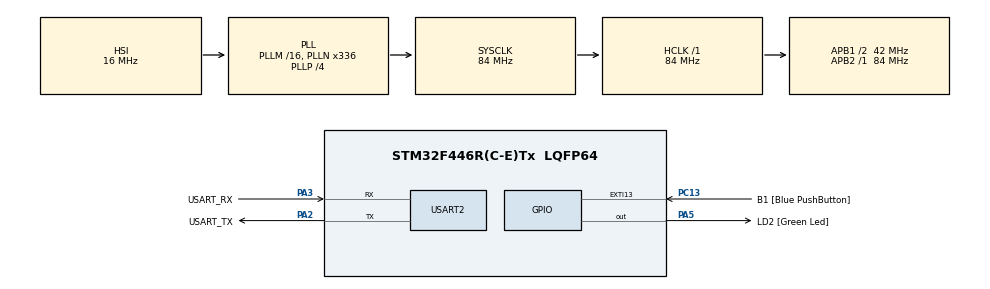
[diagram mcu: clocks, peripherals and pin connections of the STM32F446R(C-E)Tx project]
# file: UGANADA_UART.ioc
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Mcu.Family=STM32F4
Mcu.Name=STM32F446R(C-E)Tx
Mcu.Package=LQFP64
NVIC.PriorityGroup=NVIC_PRIORITYGROUP_0
NVIC.USART2_IRQn=true\:0\:0\:false\:false\:true\:true\:true\:true
PA13.GPIO_Label=TMS
PA13.Mode=Serial_Wire
PA13.Signal=SYS_JTMS-SWDIO
PA14.GPIO_Label=TCK
PA14.Mode=Serial_Wire
PA14.Signal=SYS_JTCK-SWCLK
PA2.GPIO_Label=USART_TX
PA2.Mode=Asynchronous
PA2.Signal=USART2_TX
PA3.GPIO_Label=USART_RX
PA3.Mode=Asynchronous
PA3.Signal=USART2_RX
PA5.GPIO_Label=LD2 [Green Led]
PA5.Signal=GPIO_Output
PB3.GPIO_Label=SWO
PB3.Signal=SYS_JTDO-SWO
PC13.GPIO_Label=B1 [Blue PushButton]
PC13.GPIO_ModeDefaultEXTI=GPIO_MODE_IT_FALLING
PC13.Signal=GPXTI13
PC14-OSC32_IN.Mode=LSE-External-Oscillator
PC14-OSC32_IN.Signal=RCC_OSC32_IN
PC15-OSC32_OUT.Mode=LSE-External-Oscillator
PC15-OSC32_OUT.Signal=RCC_OSC32_OUT
PH0-OSC_IN.Mode=HSE-External-Oscillator
PH0-OSC_IN.Signal=RCC_OSC_IN
PH1-OSC_OUT.Mode=HSE-External-Oscillator
PH1-OSC_OUT.Signal=RCC_OSC_OUT
ProjectManager.HeapSize=0x200
ProjectManager.StackSize=0x400
ProjectManager.TargetToolchain=STM32CubeIDE
RCC.48MHZClocksFreq_Value=84000000
RCC.AHBFreq_Value=84000000
RCC.APB1CLKDivider=RCC_HCLK_DIV2
RCC.APB1Freq_Value=42000000
RCC.APB1TimFreq_Value=84000000
RCC.APB2Freq_Value=84000000
RCC.APB2TimFreq_Value=84000000
RCC.CortexFreq_Value=84000000
RCC.FLatency-AdvancedSettings=FLASH_LATENCY_2
RCC.HCLKFreq_Value=84000000
RCC.HSE_VALUE=8000000
RCC.HSI_VALUE=16000000
RCC.PLLN=336
RCC.PLLP=RCC_PLLP_DIV4
RCC.SYSCLKFreq_VALUE=84000000
RCC.SYSCLKSource=RCC_SYSCLKSOURCE_PLLCLK
RCC.USBFreq_Value=168000000
RCC.VCOOutputFreq_Value=336000000
USART2.VirtualMode=VM_ASYNC
board=NUCLEO-F446RE

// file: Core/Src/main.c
/* USER CODE BEGIN Header */
/**
  ******************************************************************************
  * @file           : main.c
  * @brief          : Main program body
  ******************************************************************************
  * @attention
  *
  * Copyright (c) 2025 STMicroelectronics.
  * All rights reserved.
  *
  * This software is licensed under terms that can be found in the LICENSE file
  * in the root directory of this software component.
  * If no LICENSE file comes with this software, it is provided AS-IS.
  *
  ******************************************************************************
  */
/* USER CODE END Header */
#include "main.h"

/* USER CODE BEGIN PTD */
#include <string.h>
#include <stdio.h>
/* USER CODE END PTD */

UART_HandleTypeDef huart2;

/* USER CODE BEGIN PV */
char tx_data[] = "uganda tutorial\r\n";
char rx_data[1]; //CHNAGE BACK TO 6
char hold_rx[16];
char temp_buffer[100];
//uint32_t index;
//int count = 0;
/* USER CODE END PV */

void SystemClock_Config(void);
static void MX_GPIO_Init(void);
static void MX_USART2_UART_Init(void);

int main(void)
{

  /* MCU Configuration--------------------------------------------------------*/

  /* Reset of all peripherals, Initializes the Flash interface and the Systick. */
  HAL_Init();

  /* Configure the system clock */
  SystemClock_Config();

  /* Initialize all configured peripherals */
  MX_GPIO_Init();
  MX_USART2_UART_Init();
  /* USER CODE BEGIN 2 */
  HAL_UART_Transmit(&huart2, tx_data, sizeof(tx_data), HAL_MAX_DELAY);
  /* USER CODE END 2 */

  /* Infinite loop */
  while (1)
  {

    /* USER CODE BEGIN 3 */
	HAL_UART_Receive_IT(&huart2, rx_data, sizeof(rx_data));

  }
  /* USER CODE END 3 */
}

void SystemClock_Config(void)
{
  RCC_OscInitTypeDef RCC_OscInitStruct = {0};
  RCC_ClkInitTypeDef RCC_ClkInitStruct = {0};

  /** Configure the main internal regulator output voltage
  */
  __HAL_RCC_PWR_CLK_ENABLE();
  __HAL_PWR_VOLTAGESCALING_CONFIG(PWR_REGULATOR_VOLTAGE_SCALE3);

  /** Initializes the RCC Oscillators according to the specified parameters
  * in the RCC_OscInitTypeDef structure.
  */
  RCC_OscInitStruct.OscillatorType = RCC_OSCILLATORTYPE_HSI;
  RCC_OscInitStruct.HSIState = RCC_HSI_ON;
  RCC_OscInitStruct.HSICalibrationValue = RCC_HSICALIBRATION_DEFAULT;
  RCC_OscInitStruct.PLL.PLLState = RCC_PLL_ON;
  RCC_OscInitStruct.PLL.PLLSource = RCC_PLLSOURCE_HSI;
  RCC_OscInitStruct.PLL.PLLM = 16;
  RCC_OscInitStruct.PLL.PLLN = 336;
  RCC_OscInitStruct.PLL.PLLP = RCC_PLLP_DIV4;
  RCC_OscInitStruct.PLL.PLLQ = 2;
  RCC_OscInitStruct.PLL.PLLR = 2;
  if (HAL_RCC_OscConfig(&RCC_OscInitStruct) != HAL_OK)
  {
    Error_Handler();
  }

  /** Initializes the CPU, AHB and APB buses clocks
  */
  RCC_ClkInitStruct.ClockType = RCC_CLOCKTYPE_HCLK|RCC_CLOCKTYPE_SYSCLK
                              |RCC_CLOCKTYPE_PCLK1|RCC_CLOCKTYPE_PCLK2;
  RCC_ClkInitStruct.SYSCLKSource = RCC_SYSCLKSOURCE_PLLCLK;
  RCC_ClkInitStruct.AHBCLKDivider = RCC_SYSCLK_DIV1;
  RCC_ClkInitStruct.APB1CLKDivider = RCC_HCLK_DIV2;
  RCC_ClkInitStruct.APB2CLKDivider = RCC_HCLK_DIV1;

  if (HAL_RCC_ClockConfig(&RCC_ClkInitStruct, FLASH_LATENCY_2) != HAL_OK)
  {
    Error_Handler();
  }
}

static void MX_USART2_UART_Init(void)
{

  huart2.Instance = USART2;
  huart2.Init.BaudRate = 115200;
  huart2.Init.WordLength = UART_WORDLENGTH_8B;
  huart2.Init.StopBits = UART_STOPBITS_1;
  huart2.Init.Parity = UART_PARITY_NONE;
  huart2.Init.Mode = UART_MODE_TX_RX;
  huart2.Init.HwFlowCtl = UART_HWCONTROL_NONE;
  huart2.Init.OverSampling = UART_OVERSAMPLING_16;
  if (HAL_UART_Init(&huart2) != HAL_OK)
  {
    Error_Handler();
  }

}

static void MX_GPIO_Init(void)
{
  GPIO_InitTypeDef GPIO_InitStruct = {0};

  /* GPIO Ports Clock Enable */
  __HAL_RCC_GPIOC_CLK_ENABLE();
  __HAL_RCC_GPIOH_CLK_ENABLE();
  __HAL_RCC_GPIOA_CLK_ENABLE();
  __HAL_RCC_GPIOB_CLK_ENABLE();

  /*Configure GPIO pin Output Level */
  HAL_GPIO_WritePin(LD2_GPIO_Port, LD2_Pin, GPIO_PIN_RESET);

  /*Configure GPIO pin : B1_Pin */
  GPIO_InitStruct.Pin = B1_Pin;
  GPIO_InitStruct.Mode = GPIO_MODE_IT_FALLING;
  GPIO_InitStruct.Pull = GPIO_NOPULL;
  HAL_GPIO_Init(B1_GPIO_Port, &GPIO_InitStruct);

  /*Configure GPIO pin : LD2_Pin */
  GPIO_InitStruct.Pin = LD2_Pin;
  GPIO_InitStruct.Mode = GPIO_MODE_OUTPUT_PP;
  GPIO_InitStruct.Pull = GPIO_NOPULL;
  GPIO_InitStruct.Speed = GPIO_SPEED_FREQ_LOW;
  HAL_GPIO_Init(LD2_GPIO_Port, &GPIO_InitStruct);

}

/* USER CODE BEGIN 4 */

void HAL_UART_RxCpltCallback(UART_HandleTypeDef *huart)
{
 /* Prevent unused argument(s) compilation warning */
 UNUSED(huart);
 /* NOTE: This function should not be modified, when the callback is needed,
          the HAL_UART_RxCpltCallback could be implemented in the user file

// if(!strcmp(rx_data, "LEDON\r" )){
//	 HAL_GPIO_WritePin(GPIOA, GPIO_PIN_5, 1);
// }
// if(!strcmp(rx_data, "LEDOFF" )){
// 	 HAL_GPIO_WritePin(GPIOA, GPIO_PIN_5, RESET);
// }
 *
 */

 static int index = 0;
 //hold_rx[100];
 if(!strcmp(rx_data, "\r" )){

	 //char temp_buffer[100]; // or whatever size is safe

	     // Null-terminate and copy only the valid part
	 strncpy(temp_buffer, hold_rx, index);
	 //temp_buffer[index] = '\0'; // Add null terminator

	 convert_to_int(temp_buffer);
	 index = 0;// Now pass it as a proper C-string

 }
 else{
	 hold_rx[index] = *rx_data;
	 index++;
	 memset(temp_buffer,0,sizeof(temp_buffer));
 }
 HAL_UART_Transmit(&huart2, rx_data, sizeof(*rx_data), HAL_MAX_DELAY);
}

void convert_to_int(const char* hold_rx){
	if(!(strcmp(hold_rx, "100K"))){
		HAL_GPIO_TogglePin(GPIOA, GPIO_PIN_5);
	}

}

/* USER CODE END 4 */

void Error_Handler(void)
{
  __disable_irq();
  while (1)
  {
  }
}
